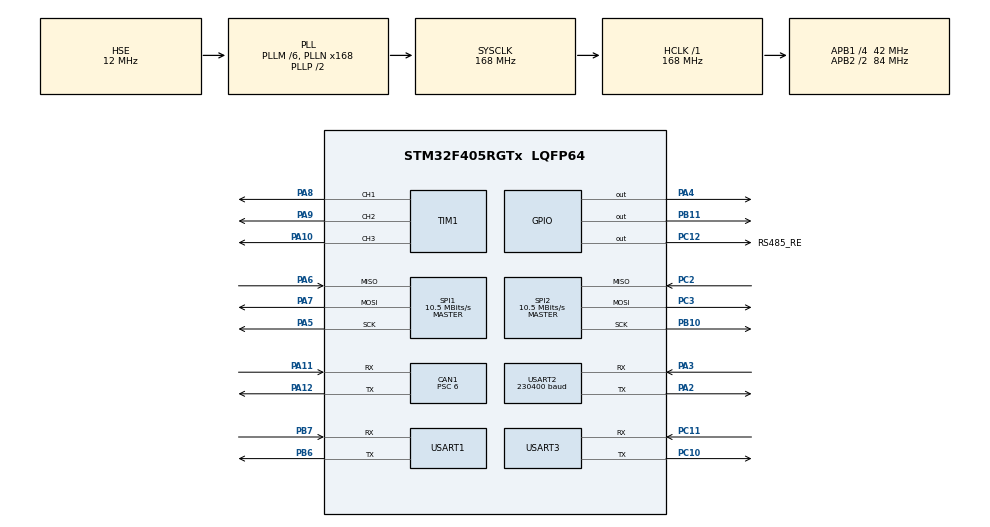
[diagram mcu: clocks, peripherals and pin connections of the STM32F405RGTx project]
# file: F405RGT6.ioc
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CAN1.BS1=CAN_BS1_5TQ
CAN1.CalculateBaudRate=1000000
CAN1.CalculateTimeBit=1000
CAN1.CalculateTimeQuantum=142.85714285714286
CAN1.Prescaler=6
Mcu.Family=STM32F4
Mcu.Name=STM32F405RGTx
Mcu.Package=LQFP64
NVIC.CAN1_RX0_IRQn=true\:0\:0\:false\:false\:true\:true\:true\:true
NVIC.PriorityGroup=NVIC_PRIORITYGROUP_4
NVIC.TIM3_IRQn=true\:0\:0\:false\:false\:true\:true\:true\:true
NVIC.USART2_IRQn=true\:0\:0\:false\:false\:true\:true\:true\:true
NVIC.USART3_IRQn=true\:0\:0\:false\:false\:true\:true\:true\:true
PA10.Signal=S_TIM1_CH3
PA11.Mode=CAN_Activate
PA11.Signal=CAN1_RX
PA12.Mode=CAN_Activate
PA12.Signal=CAN1_TX
PA13.Mode=Serial_Wire
PA13.Signal=SYS_JTMS-SWDIO
PA14.Mode=Serial_Wire
PA14.Signal=SYS_JTCK-SWCLK
PA2.Mode=Asynchronous
PA2.Signal=USART2_TX
PA3.Mode=Asynchronous
PA3.Signal=USART2_RX
PA4.Signal=GPIO_Output
PA5.Mode=Full_Duplex_Master
PA5.Signal=SPI1_SCK
PA6.GPIO_PuPd=GPIO_PULLUP
PA6.Mode=Full_Duplex_Master
PA6.Signal=SPI1_MISO
PA7.GPIO_PuPd=GPIO_PULLUP
PA7.Mode=Full_Duplex_Master
PA7.Signal=SPI1_MOSI
PA8.Signal=S_TIM1_CH1
PA9.Signal=S_TIM1_CH2
PB10.Mode=Full_Duplex_Master
PB10.Signal=SPI2_SCK
PB11.Signal=GPIO_Output
PB6.Mode=Asynchronous
PB6.Signal=USART1_TX
PB7.Mode=Asynchronous
PB7.Signal=USART1_RX
PC10.Mode=Asynchronous
PC10.Signal=USART3_TX
PC11.Mode=Asynchronous
PC11.Signal=USART3_RX
PC12.GPIO_Label=RS485_RE
PC12.GPIO_PuPd=GPIO_PULLUP
PC12.Signal=GPIO_Output
PC2.GPIO_PuPd=GPIO_PULLUP
PC2.Mode=Full_Duplex_Master
PC2.Signal=SPI2_MISO
PC3.GPIO_PuPd=GPIO_PULLUP
PC3.Mode=Full_Duplex_Master
PC3.Signal=SPI2_MOSI
PH0-OSC_IN.Mode=HSE-External-Oscillator
PH0-OSC_IN.Signal=RCC_OSC_IN
PH1-OSC_OUT.Mode=HSE-External-Oscillator
PH1-OSC_OUT.Signal=RCC_OSC_OUT
ProjectManager.HeapSize=0x200
ProjectManager.StackSize=0x400
ProjectManager.TargetToolchain=Makefile
RCC.48MHZClocksFreq_Value=84000000
RCC.AHBFreq_Value=168000000
RCC.APB1CLKDivider=RCC_HCLK_DIV4
RCC.APB1Freq_Value=42000000
RCC.APB1TimFreq_Value=84000000
RCC.APB2CLKDivider=RCC_HCLK_DIV2
RCC.APB2Freq_Value=84000000
RCC.APB2TimFreq_Value=168000000
RCC.CortexFreq_Value=168000000
RCC.HCLKFreq_Value=168000000
RCC.HSE_VALUE=12000000
RCC.HSI_VALUE=16000000
RCC.LSE_VALUE=32768
RCC.PLLM=6
RCC.PLLN=168
RCC.PLLSourceVirtual=RCC_PLLSOURCE_HSE
RCC.SYSCLKFreq_VALUE=168000000
RCC.SYSCLKSource=RCC_SYSCLKSOURCE_PLLCLK
RCC.VCOOutputFreq_Value=336000000
SH.S_TIM1_CH1.0=TIM1_CH1,PWM Generation1 CH1
SH.S_TIM1_CH2.0=TIM1_CH2,PWM Generation2 CH2
SH.S_TIM1_CH3.0=TIM1_CH3,PWM Generation3 CH3
SPI1.BaudRatePrescaler=SPI_BAUDRATEPRESCALER_8
SPI1.CLKPhase=SPI_PHASE_2EDGE
SPI1.CalculateBaudRate=10.5 MBits/s
SPI1.Direction=SPI_DIRECTION_2LINES
SPI1.Mode=SPI_MODE_MASTER
SPI1.VirtualType=VM_MASTER
SPI2.BaudRatePrescaler=SPI_BAUDRATEPRESCALER_4
SPI2.CLKPhase=SPI_PHASE_2EDGE
SPI2.CalculateBaudRate=10.5 MBits/s
SPI2.Direction=SPI_DIRECTION_2LINES
SPI2.Mode=SPI_MODE_MASTER
SPI2.VirtualType=VM_MASTER
TIM1.Channel-PWM\ Generation1\ CH1=TIM_CHANNEL_1
TIM1.Channel-PWM\ Generation2\ CH2=TIM_CHANNEL_2
TIM1.Channel-PWM\ Generation3\ CH3=TIM_CHANNEL_3
TIM14.Prescaler=83
TIM3.Period=1000-1
TIM3.Prescaler=84-1
USART1.VirtualMode=VM_ASYNC
USART2.BaudRate=230400
USART2.VirtualMode=VM_ASYNC
USART3.VirtualMode=VM_ASYNC
VP_TIM14_VS_ClockSourceINT.Mode=Enable_Timer
VP_TIM1_VS_ClockSourceINT.Mode=Internal
VP_TIM3_VS_ClockSourceINT.Mode=Internal
board=custom

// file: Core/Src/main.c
/* USER CODE BEGIN Header */
/**
  ******************************************************************************
  * @file           : main.c
  * @brief          : Main program body
  ******************************************************************************
  * @attention
  *
  * Copyright (c) 2024 STMicroelectronics.
  * All rights reserved.
  *
  * This software is licensed under terms that can be found in the LICENSE file
  * in the root directory of this software component.
  * If no LICENSE file comes with this software, it is provided AS-IS.
  *
  ******************************************************************************
  */
/* USER CODE END Header */
#include "main.h"
#include "can.h"
#include "spi.h"
#include "tim.h"
#include "usart.h"
#include "gpio.h"

/* USER CODE BEGIN Includes */
#include "io_retargetToUart.h"
#include "TLE5012B.h"
#include "HWT101CT_sdk.h"
#include "its_can.h"
#include "RS485.h"
#include "calculate.h"

/* USER CODE END Includes */

/* USER CODE BEGIN PM */
float tag;
/* USER CODE END PM */

void SystemClock_Config(void);

int main(void)
{

  /* MCU Configuration--------------------------------------------------------*/

  /* Reset of all peripherals, Initializes the Flash interface and the Systick. */
  HAL_Init();

  /* Configure the system clock */
  SystemClock_Config();

  /* Initialize all configured peripherals */
  MX_GPIO_Init();
  MX_SPI1_Init();
  MX_SPI2_Init();
  MX_TIM14_Init();
  MX_USART1_UART_Init();
  MX_USART2_UART_Init();
  MX_TIM1_Init();
  MX_CAN1_Init();
  MX_USART3_UART_Init();
  MX_TIM3_Init();
  /* USER CODE BEGIN 2 */
  //RetargetInit(&huart1);
  __HAL_UART_ENABLE_IT(&huart2,UART_IT_RXNE);
  HAL_UART_Receive_IT(&huart2,&s,1);
  HW101_Init();
  //HAL_TIM_Base_Start_IT(&htim3);
  HAL_TIM_PWM_Start(&htim1, TIM_CHANNEL_1);
  HAL_TIM_PWM_Start(&htim1, TIM_CHANNEL_2);
  HAL_TIM_PWM_Start(&htim1, TIM_CHANNEL_3);
  //HAL_CAN_Start(&hcan1);

 //CANFilterInit(&hcan1);
  RS485_Init();

    float positionx_45=0;
    float positiony_45=0;

  // uint8_t a[5] = {0xFF,0xAA,0x69,0x88,0xB5};
  // uint8_t b[5] = {0xFF,0xAA,0x03,0x0B,0x00};
  // uint8_t c[5] = {0xFF,0xAA,0x00,0x00,0x00};
  /* USER CODE END 2 */

  /* Infinite loop */
  /* USER CODE BEGIN WHILE */
  while (1)
  {
    HAL_Delay(1);
    ProcessData();
    TLE5012B_SPI_RDATA();
    Timing_Distance_Calculate();//处理周期目前先设1ms
    printf("distance:%f,%f,%f\n",position[0],position[1],tag);
    positionx_45=cos(3.14159/4)*position[0]-sin(3.14159/4)*position[1];
    positiony_45=cos(3.14159/4)*position[1]+sin(3.14159/4)*position[0];
    //printf("distance:%f,%f,%f\n",positionx_45,positiony_45,tag);

    //printf("485Receivebuf:%d,%d,%d,%d\n",RS485_RxBuffer[0],RS485_RxBuffer[1],RS485_RxBuffer[2],RS485_RxBuffer[3]);
    //printf("485ReceiveMsg:%d,%d,%d,%d\n",RS485_RxData[0],RS485_RxData[1],RS485_RxData[2],RS485_RxData[3]);

    /* USER CODE END WHILE */

  }
}

void SystemClock_Config(void)
{
  RCC_OscInitTypeDef RCC_OscInitStruct = {0};
  RCC_ClkInitTypeDef RCC_ClkInitStruct = {0};

  /** Configure the main internal regulator output voltage
  */
  __HAL_RCC_PWR_CLK_ENABLE();
  __HAL_PWR_VOLTAGESCALING_CONFIG(PWR_REGULATOR_VOLTAGE_SCALE1);

  /** Initializes the RCC Oscillators according to the specified parameters
  * in the RCC_OscInitTypeDef structure.
  */
  RCC_OscInitStruct.OscillatorType = RCC_OSCILLATORTYPE_HSE;
  RCC_OscInitStruct.HSEState = RCC_HSE_ON;
  RCC_OscInitStruct.PLL.PLLState = RCC_PLL_ON;
  RCC_OscInitStruct.PLL.PLLSource = RCC_PLLSOURCE_HSE;
  RCC_OscInitStruct.PLL.PLLM = 6;
  RCC_OscInitStruct.PLL.PLLN = 168;
  RCC_OscInitStruct.PLL.PLLP = RCC_PLLP_DIV2;
  RCC_OscInitStruct.PLL.PLLQ = 4;
  if (HAL_RCC_OscConfig(&RCC_OscInitStruct) != HAL_OK)
  {
    Error_Handler();
  }

  /** Initializes the CPU, AHB and APB buses clocks
  */
  RCC_ClkInitStruct.ClockType = RCC_CLOCKTYPE_HCLK|RCC_CLOCKTYPE_SYSCLK
                              |RCC_CLOCKTYPE_PCLK1|RCC_CLOCKTYPE_PCLK2;
  RCC_ClkInitStruct.SYSCLKSource = RCC_SYSCLKSOURCE_PLLCLK;
  RCC_ClkInitStruct.AHBCLKDivider = RCC_SYSCLK_DIV1;
  RCC_ClkInitStruct.APB1CLKDivider = RCC_HCLK_DIV4;
  RCC_ClkInitStruct.APB2CLKDivider = RCC_HCLK_DIV2;

  if (HAL_RCC_ClockConfig(&RCC_ClkInitStruct, FLASH_LATENCY_5) != HAL_OK)
  {
    Error_Handler();
  }
}

void Error_Handler(void)
{
  /* USER CODE BEGIN Error_Handler_Debug */
  /* User can add his own implementation to report the HAL error return state */
  __disable_irq();
  while (1)
  {
    if (hcan1.State == HAL_CAN_STATE_READY) {
      printf("1");
  } else {
    printf("CAN State Error: 0x%02X\n", hcan1.State);
  }
  }
  /* USER CODE END Error_Handler_Debug */
}
